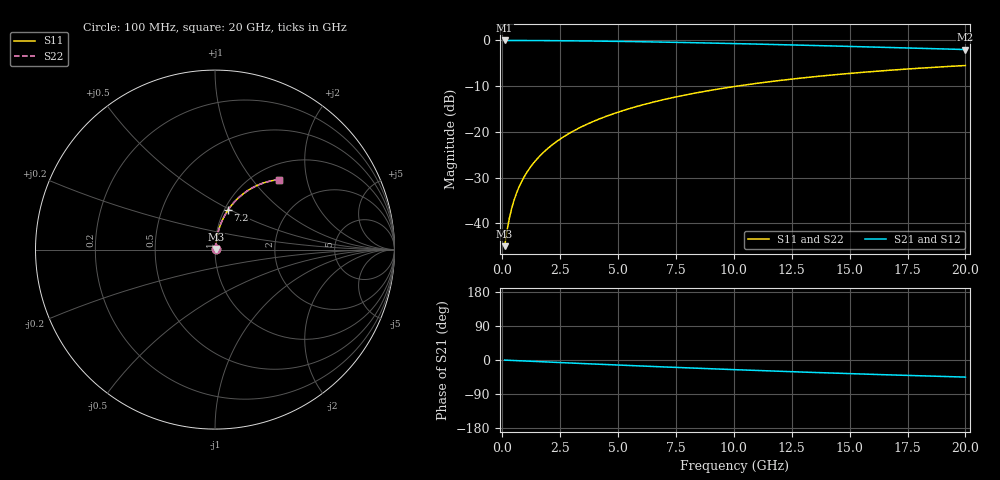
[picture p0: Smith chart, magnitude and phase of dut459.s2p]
! Touchstone file exported from HFSS 2024.1.0
!  File:  C:/UserFiles/LocalFiles/RDL_TSV_Batchsim/temp_RDL_top_459_1779677450.aedt
!  Generated:  10:53:36 AM May 25, 2026
!  Design:  RDL_top
!  Project:  temp_RDL_top_459_1779677450
!  Setup:  Setup1
!  Solution:  Sweep
! Variables:
!  dtsv = 10.80580581um
!  hbump = 3um
!  htsv = 84.58um
!  ldown = 100um
!  lrdl = 543.16um
!  p = 40
!  p1 = 59.35um
!  rhole = 1um
!  t = 450um
!  tdown = 3.915915916um
!  trdl = 4.08um
!  wdown = 15.38538539um
!  wrdl = 10.59um
# GHz S MA R 50.000000
! Terminal data exported
! Port[1] = Box2_T1
! Port[2] = Box2_T2
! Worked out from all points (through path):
!   200 points, 100 MHz to 20 GHz, reference 50 ohm
!   highest |S21| = -0.04 dB at 100 MHz (marker M1); lowest = -2.0 dB at 20 GHz (marker M2)
!   group delay of S21, straight-line fit = 6.27 ps
!   lowest |S11| = -45.0 dB at 100 MHz (marker M3), VSWR 1.01, Z = 50.4 + j0.344 ohm
!   |S11| at or under -10 dB: start of sweep to 10.16 GHz
!   |S22| runs from -45.0 to -5.5 dB; largest |S21 - S12| = 3e-15
!   S11 on the Smith chart (normalised r, x): 100 MHz: 1.01, +0.01; 7.2 GHz: 1.04, +0.48; 20 GHz: 1.28, +1.39
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0.1  0.005634 37.2  0.9955 -0.3  0.9955 -0.3  0.005634 37.2
! Gamma 0 0 0 0
! Port Impedance 50 0 50 0
0.2  0.008194 56.2  0.9954 -0.6  0.9954 -0.6  0.008194 56.2
0.3  0.01122 65.3  0.9953 -0.8  0.9953 -0.8  0.01122 65.4
0.4  0.0144 70.4  0.9952 -1.1  0.9952 -1.1  0.0144 70.4
0.5  0.01764 73.5  0.9951 -1.4  0.9951 -1.4  0.01764 73.5
0.6  0.02091 75.5  0.9949 -1.7  0.9949 -1.7  0.02092 75.5
0.8  0.02748 77.9  0.9946 -2.2  0.9946 -2.2  0.02749 78.0
1.1  0.03734 79.7  0.9939 -3.0  0.9939 -3.0  0.03736 79.7
1.5  0.05051 80.7  0.9929 -4.1  0.9929 -4.1  0.05052 80.7
1.8  0.06038 80.9  0.992 -4.9  0.992 -4.9  0.06039 80.9
2.1  0.07024 80.8  0.9909 -5.7  0.9909 -5.7  0.07025 80.8
2.7  0.08991 80.3  0.9882 -7.3  0.9882 -7.3  0.08991 80.3
3.5  0.1159 79.1  0.9838 -9.4  0.9838 -9.4  0.116 79.1
4.2  0.1385 77.9  0.9791 -11.3  0.9791 -11.3  0.1385 77.9
5  0.164 76.3  0.973 -13.3  0.973 -13.3  0.164 76.3
6.8  0.2197 72.7  0.9566 -17.8  0.9566 -17.8  0.2196 72.6
7.2  0.2317 71.8  0.9525 -18.8  0.9525 -18.8  0.2317 71.8
8.6  0.2727 68.9  0.9373 -22.2  0.9373 -22.2  0.2727 68.9
10.1  0.3146 65.8  0.9197 -25.6  0.9197 -25.6  0.3145 65.7
13.4  0.3983 59.2  0.878 -32.7  0.878 -32.7  0.3982 59.1
16.7  0.47 53.0  0.8347 -39.2  0.8347 -39.2  0.4699 53.0
20  0.53 47.4  0.7922 -45.1  0.7922 -45.1  0.5298 47.4
